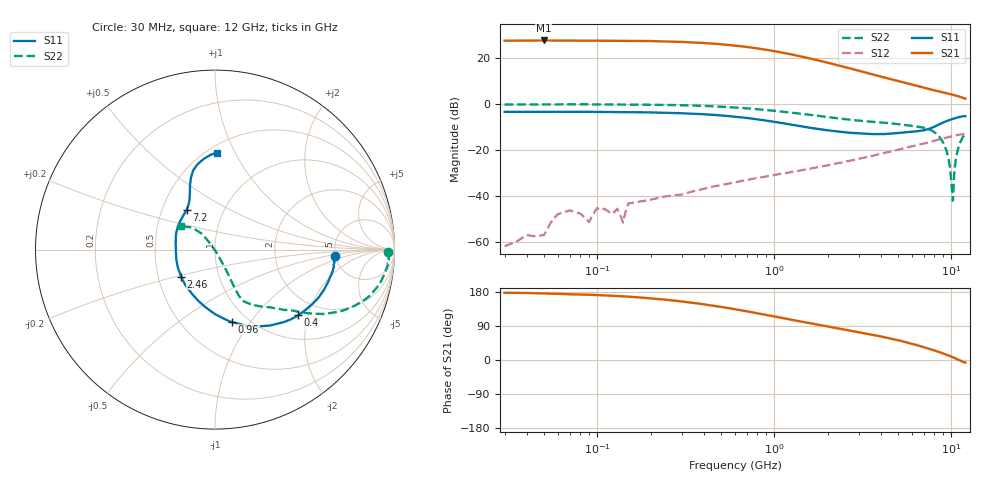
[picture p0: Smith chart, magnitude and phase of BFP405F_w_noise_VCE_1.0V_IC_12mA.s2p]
! Infineon Technologies  Discrete & RF Semiconductors
! BFP405F
! VCE =  1.0 V,  IC =  12 mA
! Common Emitter S-Parameters:  Nov 2015
# GHz  S  MA  R  50
!  f  S11  S21  S12  S22
! GHz  MAG  ANG  MAG  ANG  MAG  ANG  MAG  ANG
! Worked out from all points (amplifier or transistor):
!   239 points, 30 MHz to 12 GHz, reference 50 ohm
!   highest |S21| = 27.5 dB at 50 MHz (marker M1)
!   |S21| within 3 dB of that: start of sweep to 729.1 MHz
!   unconditionally stable (mu >= 1): 1.878 GHz to end of sweep
!   at 300 MHz: K = 0.26, MSG = 33.2 dB, |S12| = -39.5 dB
!   at 1.88 GHz: K = 1.00, MAG = 22.6 dB, |S12| = -27.2 dB
!   at 12 GHz: K = 1.40, MAG = 3.8 dB, |S12| = -13.0 dB
!   lowest NFmin = 1.80 dB at 450 MHz
!   S11 on the Smith chart (normalised r, x): 30 MHz: 4.92, -0.66; 400 MHz: 1.54, -1.74; 960 MHz: 0.84, -0.82; 2.46 GHz: 0.66, -0.21; 7.2 GHz: 0.67, +0.32; 12 GHz: 0.56, +0.85
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0.03  0.6671 -3.2  23.48 177.4  0.0008 -173.1  0.9612 -0.9
0.05  0.6643 -5.2  23.77 175.4  0.0014 97.3  0.964 -1.6
0.06  0.6697 -6.1  23.58 174.7  0.004 79.9  0.9703 -2.2
0.085  0.6685 -8.6  23.51 172.5  0.0034 90.8  0.9698 -3.5
0.14  0.6585 -14.3  23.36 168.2  0.0026 75.0  0.9637 -6.2
0.145  0.6575 -14.8  23.35 167.8  0.0047 80.3  0.9617 -6.4
0.24  0.638 -23.9  22.61 159.4  0.0096 83.5  0.9428 -10.6
0.3  0.621 -29.3  22.07 154.4  0.0106 77.3  0.9271 -13.1
0.4  0.5908 -38.3  20.91 146.9  0.0141 77.0  0.8978 -16.8
0.6  0.5228 -54.0  18.38 133.8  0.0196 70.6  0.8273 -22.8
0.74  0.4772 -63.3  16.69 126.4  0.0229 67.9  0.7808 -26.0
0.96  0.4149 -76.6  14.31 116.5  0.0274 66.2  0.7131 -30.0
1.3  0.3409 -94.6  11.44 104.6  0.034 64.7  0.6287 -34.3
1.64  0.2949 -110.0  9.389 96.0  0.0397 63.6  0.5663 -37.3
2.46  0.2414 -141.4  6.382 80.8  0.0541 61.8  0.466 -44.5
4.5  0.2231 169.4  3.462 57.2  0.0909 56.4  0.3763 -55.3
7.2  0.2723 125.4  2.171 32.0  0.1404 44.5  0.2901 -62.6
9.2  0.4058 109.6  1.721 15.5  0.1805 34.2  0.1173 -61.4
9.8  0.4452 106.5  1.625 10.6  0.1924 30.7  0.0445 -61.5
10.2  0.4687 103.8  1.565 7.2  0.2 28.1  0.0078 143.5
10.6  0.4907 100.6  1.506 3.7  0.2067 25.5  0.0616 128.5
12  0.538 89.0  1.291 -6.9  0.2231 18.2  0.2283 145.3
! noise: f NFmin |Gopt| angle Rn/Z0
0.45  1.8  0.16  4  0.33
0.9  1.81  0.15  8  0.33
1.5  1.86  0.13  12  0.23
1.9  1.91  0.12  19  0.29
2.4  2.04  0.1  26  0.38
3  2.11  0.08  35  0.4
3.5  2.17  0.06  40  0.45
4.5  2.36  0.03  -10  0.19
5.5  2.6  0.12  -85  0.06
